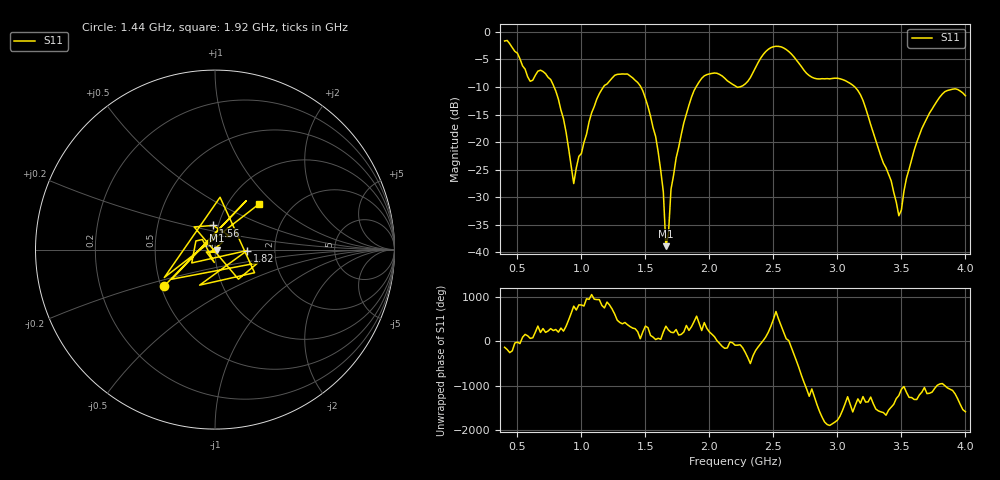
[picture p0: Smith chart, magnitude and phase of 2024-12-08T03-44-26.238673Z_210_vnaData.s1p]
!Created with skrf (http://scikit-rf.org).
# Hz S RI R 50.0
!freq ReS11 ImS11
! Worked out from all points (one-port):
!   181 points, 400 MHz to 4 GHz, reference 50 ohm
!   lowest |S11| = -38.9 dB at 1.66 GHz (marker M1), VSWR 1.02, Z = 51.1 - j0.361 ohm
!   |S11| at or under -10 dB: 786.6 MHz to 1.172 GHz (385.6 MHz wide, 39.4 % of centre); 1.464 GHz to 1.896 GHz (431.5 MHz wide, 25.7 % of centre); 3.136 GHz to end of sweep (the widest 3 of 4)
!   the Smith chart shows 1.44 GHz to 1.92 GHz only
!   S11 on the Smith chart (normalised r, x): 1.44 GHz: 0.52, -0.24; 1.56 GHz: 0.95, +0.26; 1.82 GHz: 1.44, -0.02; 1.92 GHz: 1.38, +0.80
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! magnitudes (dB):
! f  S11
! 400 MHz  -1.7
! 600 MHz  -9.0
! 760 MHz  -8.6
! 860 MHz  -15.8
! 940 MHz  -27.5
! 1.12 GHz  -12.2
! 1.3 GHz  -7.7
! 1.44 GHz  -9.2
! 1.56 GHz  -17.4
! 1.64 GHz  -29.0
! 1.66 GHz  -38.9
! 1.68 GHz  -36.7
! 1.7 GHz  -28.6
! 1.76 GHz  -20.9
! 1.82 GHz  -14.9
! 1.92 GHz  -9.1
! 2.04 GHz  -7.5
! 2.2 GHz  -9.8
! 2.48 GHz  -2.9
! 2.66 GHz  -4.5
! 2.8 GHz  -8.2
! 3.1 GHz  -9.3
! 3.2 GHz  -12.4
! 3.48 GHz  -33.4
! 3.56 GHz  -24.9
! 3.66 GHz  -17.5
! 3.8 GHz  -11.8
! 4 GHz  -11.6
